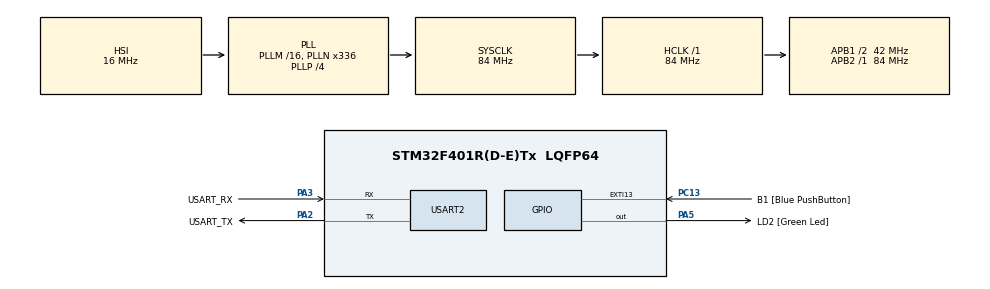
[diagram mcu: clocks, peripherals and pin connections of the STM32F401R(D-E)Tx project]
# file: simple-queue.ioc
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FREERTOS.Tasks01=defaultTask,0,128,StartDefaultTask,Default,NULL,Dynamic,NULL,NULL
FREERTOS.configUSE_NEWLIB_REENTRANT=1
Mcu.Family=STM32F4
Mcu.Name=STM32F401R(D-E)Tx
Mcu.Package=LQFP64
NVIC.PriorityGroup=NVIC_PRIORITYGROUP_4
NVIC.TIM1_UP_TIM10_IRQn=true\:15\:0\:false\:false\:true\:false\:false\:true\:true
NVIC.TimeBase=TIM1_UP_TIM10_IRQn
NVIC.TimeBaseIP=TIM1
NVIC.USART2_IRQn=true\:5\:0\:false\:false\:true\:true\:true\:true\:true
PA13.GPIO_Label=TMS
PA13.Signal=SYS_JTMS-SWDIO
PA14.GPIO_Label=TCK
PA14.Signal=SYS_JTCK-SWCLK
PA2.GPIO_Label=USART_TX
PA2.GPIO_Mode=GPIO_MODE_AF_PP
PA2.GPIO_PuPd=GPIO_NOPULL
PA2.GPIO_Speed=GPIO_SPEED_FREQ_LOW
PA2.Mode=Asynchronous
PA2.Signal=USART2_TX
PA3.GPIO_Label=USART_RX
PA3.GPIO_Mode=GPIO_MODE_AF_PP
PA3.GPIO_PuPd=GPIO_NOPULL
PA3.GPIO_Speed=GPIO_SPEED_FREQ_LOW
PA3.Mode=Asynchronous
PA3.Signal=USART2_RX
PA5.GPIO_Label=LD2 [Green Led]
PA5.GPIO_Mode=GPIO_MODE_OUTPUT_PP
PA5.GPIO_PuPd=GPIO_NOPULL
PA5.GPIO_Speed=GPIO_SPEED_FREQ_LOW
PA5.Signal=GPIO_Output
PB3.GPIO_Label=SWO
PB3.Signal=SYS_JTDO-SWO
PC13-ANTI_TAMP.GPIO_Label=B1 [Blue PushButton]
PC13-ANTI_TAMP.GPIO_ModeDefaultEXTI=GPIO_MODE_IT_FALLING
PC13-ANTI_TAMP.GPIO_PuPd=GPIO_NOPULL
PC13-ANTI_TAMP.Signal=GPXTI13
PC14-OSC32_IN.Signal=RCC_OSC32_IN
PC15-OSC32_OUT.Signal=RCC_OSC32_OUT
PH0\ -\ OSC_IN.Mode=HSE-External-Oscillator
PH0\ -\ OSC_IN.Signal=RCC_OSC_IN
PH1\ -\ OSC_OUT.Mode=HSE-External-Oscillator
PH1\ -\ OSC_OUT.Signal=RCC_OSC_OUT
ProjectManager.HeapSize=0x200
ProjectManager.StackSize=0x400
ProjectManager.TargetToolchain=STM32CubeIDE
RCC.48MHZClocksFreq_Value=48000000
RCC.AHBFreq_Value=84000000
RCC.APB1CLKDivider=RCC_HCLK_DIV2
RCC.APB1Freq_Value=42000000
RCC.APB1TimFreq_Value=84000000
RCC.APB2Freq_Value=84000000
RCC.APB2TimFreq_Value=84000000
RCC.CortexFreq_Value=84000000
RCC.HCLKFreq_Value=84000000
RCC.HSE_VALUE=8000000
RCC.HSI_VALUE=16000000
RCC.PLLN=336
RCC.PLLP=RCC_PLLP_DIV4
RCC.PLLQ=7
RCC.SYSCLKFreq_VALUE=84000000
RCC.SYSCLKSource=RCC_SYSCLKSOURCE_PLLCLK
RCC.VCOOutputFreq_Value=336000000
USART2.VirtualMode=VM_ASYNC
VP_FREERTOS_VS_CMSIS_V1.Mode=CMSIS_V1
VP_SYS_VS_tim1.Mode=TIM1
board=NUCLEO-F401RE

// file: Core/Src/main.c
/* USER CODE BEGIN Header */
/**
  ******************************************************************************
  * @file           : main.c
  * @brief          : Main program body
  ******************************************************************************
  * @attention
  *
  * Copyright (c) 2026 STMicroelectronics.
  * All rights reserved.
  *
  * This software is licensed under terms that can be found in the LICENSE file
  * in the root directory of this software component.
  * If no LICENSE file comes with this software, it is provided AS-IS.
  *
  ******************************************************************************
  */
/* USER CODE END Header */
#include "main.h"

/* USER CODE BEGIN Includes */
#include "FreeRTOS.h"
#include "task.h"
#include "timers.h"
#include "queue.h"
#include "semphr.h"
#include "event_groups.h"
#include "string.h"
#include <stdio.h>
/* USER CODE END Includes */

UART_HandleTypeDef huart2;

void SystemClock_Config(void);
static void MX_GPIO_Init(void);
static void MX_USART2_UART_Init(void);

/* USER CODE BEGIN 0 */
// Task Handlers
xTaskHandle Sender_HPT_Handler;
xTaskHandle Sender_LPT_Handler;
xTaskHandle Receiver_Handler;
// Queue Handler
xQueueHandle SimpleQueue;
// Task Functions
void Sender_HPT_Task(void * argument);
void Sender_LPT_Task(void * argument);
void Receiver_Task(void * argument);
uint8_t Rx_data;
/* USER CODE END 0 */

int main(void)
{

  /* MCU Configuration--------------------------------------------------------*/

  /* Reset of all peripherals, Initializes the Flash interface and the Systick. */
  HAL_Init();

  /* Configure the system clock */
  SystemClock_Config();

  /* Initialize all configured peripherals */
  MX_GPIO_Init();
  MX_USART2_UART_Init();
  /* USER CODE BEGIN 2 */
  SimpleQueue = xQueueCreate(5, sizeof (int));
  if (SimpleQueue == 0)
  {
    char *str = "Unable to create integer queue\r\n";
    HAL_UART_Transmit(&huart2, (uint8_t*)str, strlen(str), HAL_MAX_DELAY);
  }
  else
  {
    char *str = "Integer queue created successfully\r\n";
    HAL_UART_Transmit(&huart2, (uint8_t*)str, strlen(str), HAL_MAX_DELAY);
  }
  xTaskCreate(Sender_HPT_Task, "HPT_Send", 128, NULL, 3, &Sender_LPT_Handler);
  xTaskCreate(Sender_LPT_Task, "LPT_Send", 128, (void *)111, 3, &Sender_LPT_Handler);
  xTaskCreate(Receiver_Task, "Receive", 128, NULL, 1, &Receiver_Handler);
  HAL_UART_Receive_IT(&huart2, &Rx_data, 1);
  vTaskStartScheduler();
  /* USER CODE END 2 */

  /* Create the thread(s) */
  /* definition and creation of defaultTask */

  /* Start scheduler */

  /* We should never get here as control is now taken by the scheduler */

  /* Infinite loop */
  while (1)
  {

  }
}

void SystemClock_Config(void)
{
  RCC_OscInitTypeDef RCC_OscInitStruct = {0};
  RCC_ClkInitTypeDef RCC_ClkInitStruct = {0};

  /** Configure the main internal regulator output voltage
  */
  __HAL_RCC_PWR_CLK_ENABLE();
  __HAL_PWR_VOLTAGESCALING_CONFIG(PWR_REGULATOR_VOLTAGE_SCALE2);

  /** Initializes the RCC Oscillators according to the specified parameters
  * in the RCC_OscInitTypeDef structure.
  */
  RCC_OscInitStruct.OscillatorType = RCC_OSCILLATORTYPE_HSI;
  RCC_OscInitStruct.HSIState = RCC_HSI_ON;
  RCC_OscInitStruct.HSICalibrationValue = RCC_HSICALIBRATION_DEFAULT;
  RCC_OscInitStruct.PLL.PLLState = RCC_PLL_ON;
  RCC_OscInitStruct.PLL.PLLSource = RCC_PLLSOURCE_HSI;
  RCC_OscInitStruct.PLL.PLLM = 16;
  RCC_OscInitStruct.PLL.PLLN = 336;
  RCC_OscInitStruct.PLL.PLLP = RCC_PLLP_DIV4;
  RCC_OscInitStruct.PLL.PLLQ = 7;
  if (HAL_RCC_OscConfig(&RCC_OscInitStruct) != HAL_OK)
  {
    Error_Handler();
  }

  /** Initializes the CPU, AHB and APB buses clocks
  */
  RCC_ClkInitStruct.ClockType = RCC_CLOCKTYPE_HCLK|RCC_CLOCKTYPE_SYSCLK
                              |RCC_CLOCKTYPE_PCLK1|RCC_CLOCKTYPE_PCLK2;
  RCC_ClkInitStruct.SYSCLKSource = RCC_SYSCLKSOURCE_PLLCLK;
  RCC_ClkInitStruct.AHBCLKDivider = RCC_SYSCLK_DIV1;
  RCC_ClkInitStruct.APB1CLKDivider = RCC_HCLK_DIV2;
  RCC_ClkInitStruct.APB2CLKDivider = RCC_HCLK_DIV1;

  if (HAL_RCC_ClockConfig(&RCC_ClkInitStruct, FLASH_LATENCY_2) != HAL_OK)
  {
    Error_Handler();
  }
}

static void MX_USART2_UART_Init(void)
{

  huart2.Instance = USART2;
  huart2.Init.BaudRate = 115200;
  huart2.Init.WordLength = UART_WORDLENGTH_8B;
  huart2.Init.StopBits = UART_STOPBITS_1;
  huart2.Init.Parity = UART_PARITY_NONE;
  huart2.Init.Mode = UART_MODE_TX_RX;
  huart2.Init.HwFlowCtl = UART_HWCONTROL_NONE;
  huart2.Init.OverSampling = UART_OVERSAMPLING_16;
  if (HAL_UART_Init(&huart2) != HAL_OK)
  {
    Error_Handler();
  }

}

static void MX_GPIO_Init(void)
{
  GPIO_InitTypeDef GPIO_InitStruct = {0};

  /* GPIO Ports Clock Enable */
  __HAL_RCC_GPIOC_CLK_ENABLE();
  __HAL_RCC_GPIOH_CLK_ENABLE();
  __HAL_RCC_GPIOA_CLK_ENABLE();
  __HAL_RCC_GPIOB_CLK_ENABLE();

  /*Configure GPIO pin Output Level */
  HAL_GPIO_WritePin(LD2_GPIO_Port, LD2_Pin, GPIO_PIN_RESET);

  /*Configure GPIO pin : B1_Pin */
  GPIO_InitStruct.Pin = B1_Pin;
  GPIO_InitStruct.Mode = GPIO_MODE_IT_FALLING;
  GPIO_InitStruct.Pull = GPIO_NOPULL;
  HAL_GPIO_Init(B1_GPIO_Port, &GPIO_InitStruct);

  /*Configure GPIO pin : LD2_Pin */
  GPIO_InitStruct.Pin = LD2_Pin;
  GPIO_InitStruct.Mode = GPIO_MODE_OUTPUT_PP;
  GPIO_InitStruct.Pull = GPIO_NOPULL;
  GPIO_InitStruct.Speed = GPIO_SPEED_FREQ_LOW;
  HAL_GPIO_Init(LD2_GPIO_Port, &GPIO_InitStruct);

}

/* USER CODE BEGIN 4 */
void Sender_HPT_Task(void* argument)
{
  int i = 222;
  uint32_t TickDelay = pdMS_TO_TICKS(2000);
  while (1)
  {
    char *str = "Entered SENDER_HPT Task \r\nAbout to send a number to the queue\r\n";
    HAL_UART_Transmit(&huart2, (uint8_t *)str, strlen(str), HAL_MAX_DELAY);
    if (xQueueSend(SimpleQueue, &i, portMAX_DELAY) == pdPASS)
    {
      char* str2 = "Successfully sent number to queue\r\nLeaving SENDER_HPT Task\r\n";
      HAL_UART_Transmit(&huart2, (uint8_t *)str2, strlen(str), HAL_MAX_DELAY);
    }
    vTaskDelay(TickDelay);
  }
}
void Sender_LPT_Task(void* argument)
{
  int ToSend;
  uint32_t TickDelay = pdMS_TO_TICKS(1000);
  while (1)
  {
    ToSend = (int) argument;
    char *str = "Entered SENDER_LPT Task \r\nAbout to send a number to the queue\r\n";
    HAL_UART_Transmit(&huart2, (uint8_t *)str, strlen(str), HAL_MAX_DELAY);
    if (xQueueSend(SimpleQueue, &ToSend, portMAX_DELAY) == pdPASS)
    {
      char* str2 = "Successfully sent number to queue\r\nLeaving SENDER_LPT Task\r\n";
      HAL_UART_Transmit(&huart2, (uint8_t *)str2, strlen(str2), HAL_MAX_DELAY);
    }
    vTaskDelay(TickDelay);
  }
}
void Receiver_Task (void * argument)
{
  int received = 0;
  uint32_t TickDelay = pdMS_TO_TICKS(5000);
  while(1)
  {
    char str[100];
    strcpy(str, "Entered receiver task\r\nAbout to receive a number from the queue\r\n");
    HAL_UART_Transmit(&huart2, (uint8_t *)str, strlen(str), HAL_MAX_DELAY);
    if(xQueueReceive(SimpleQueue, &received, portMAX_DELAY) != pdTRUE)
    {
      HAL_UART_Transmit(&huart2, (uint8_t *)str, strlen(str), HAL_MAX_DELAY);
    }
    else
    {
      sprintf(str, "Successfully received number %d to the queue\r\nLeaving receiver task\r\n", received);
      HAL_UART_Transmit(&huart2, (uint8_t *)str, strlen(str), HAL_MAX_DELAY);
    }
    vTaskDelay(TickDelay);
  }
}
/* USER CODE END 4 */

void HAL_TIM_PeriodElapsedCallback(TIM_HandleTypeDef *htim)
{
  if (htim->Instance == TIM1)
  {
    HAL_IncTick();
  }
}

void Error_Handler(void)
{
  __disable_irq();
  while (1)
  {
  }
}
